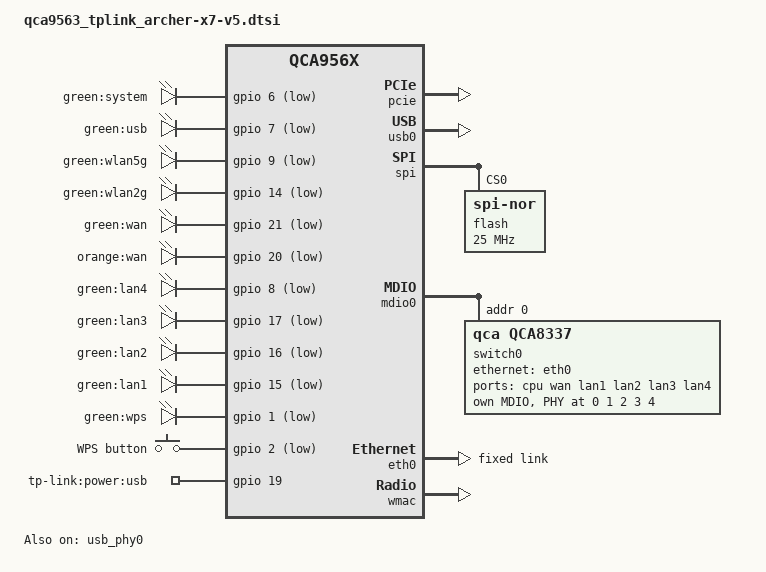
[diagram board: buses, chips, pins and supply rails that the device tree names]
// SPDX-License-Identifier: GPL-2.0-or-later OR MIT

#include "qca956x.dtsi"

#include <dt-bindings/gpio/gpio.h>
#include <dt-bindings/input/input.h>

/ {
	aliases {
		led-boot = &led_system;
		led-failsafe = &led_system;
		led-running = &led_system;
		led-upgrade = &led_system;
	};

	leds {
		compatible = "gpio-leds";

		led_system: system {
			label = "green:system";
			gpios = <&gpio 6 GPIO_ACTIVE_LOW>;
			default-state = "on";
		};

		usb {
			label = "green:usb";
			gpios = <&gpio 7 GPIO_ACTIVE_LOW>;
			trigger-sources = <&hub_port0>;
			linux,default-trigger = "usbport";
		};

		wlan5g {
			label = "green:wlan5g";
			gpios = <&gpio 9 GPIO_ACTIVE_LOW>;
			linux,default-trigger = "phy0tpt";
		};

		wlan2g {
			label = "green:wlan2g";
			gpios = <&gpio 14 GPIO_ACTIVE_LOW>;
			linux,default-trigger = "phy1tpt";
		};

		wan {
			label = "green:wan";
			gpios = <&gpio 21 GPIO_ACTIVE_LOW>;
		};

		wan_fail {
			label = "orange:wan";
			gpios = <&gpio 20 GPIO_ACTIVE_LOW>;
		};

		lan4 {
			label = "green:lan4";
			gpios = <&gpio 8 GPIO_ACTIVE_LOW>;
		};

		lan3 {
			label = "green:lan3";
			gpios = <&gpio 17 GPIO_ACTIVE_LOW>;
		};

		lan2 {
			label = "green:lan2";
			gpios = <&gpio 16 GPIO_ACTIVE_LOW>;
		};

		lan1 {
			label = "green:lan1";
			gpios = <&gpio 15 GPIO_ACTIVE_LOW>;
		};

		wps {
			label = "green:wps";
			gpios = <&gpio 1 GPIO_ACTIVE_LOW>;
		};
	};

	keys: keys {
		compatible = "gpio-keys";

		wps {
			label = "WPS button";
			linux,code = <KEY_WPS_BUTTON>;
			gpios = <&gpio 2 GPIO_ACTIVE_LOW>;
			debounce-interval = <60>;
		};
	};

	gpio-export {
		compatible = "gpio-export";

		gpio_usb_power {
			gpio-export,name = "tp-link:power:usb";
			gpio-export,output = <1>;
			gpios = <&gpio 19 GPIO_ACTIVE_HIGH>;
		};
	};
};

&pcie {
	status = "okay";
};

&usb_phy0 {
	status = "okay";
};

&usb0 {
	#address-cells = <1>;
	#size-cells = <0>;
	status = "okay";

	hub_port0: port@1 {
		reg = <1>;
		#trigger-source-cells = <0>;
	};
};

&spi {
	status = "okay";

	flash@0 {
		compatible = "jedec,spi-nor";
		reg = <0>;
		spi-max-frequency = <25000000>;

		mtdparts: partitions {
			compatible = "fixed-partitions";
			#address-cells = <1>;
			#size-cells = <1>;
		};
	};
};

&mdio0 {
	status = "okay";

	phy-mask = <0>;

	switch0@10 {
		compatible = "qca,qca8337";
		#address-cells = <1>;
		#size-cells = <0>;

		reg = <0>;

		ports {
			#address-cells = <1>;
			#size-cells = <0>;

			port@0 {
				reg = <0>;
				label = "cpu";
				ethernet = <&eth0>;
				phy-mode = "sgmii";
				qca,sgmii-rxclk-falling-edge;

				fixed-link {
					speed = <1000>;
					full-duplex;
				};
			};

			port@1 {
				reg = <1>;
				label = "wan";
				phy-mode = "internal";
				phy-handle = <&phy_port1>;
			};

			port@2 {
				reg = <2>;
				label = "lan1";
				phy-mode = "internal";
				phy-handle = <&phy_port2>;
			};

			port@3 {
				reg = <3>;
				label = "lan2";
				phy-mode = "internal";
				phy-handle = <&phy_port3>;
			};

			port@4 {
				reg = <4>;
				label = "lan3";
				phy-mode = "internal";
				phy-handle = <&phy_port4>;
			};

			port@5 {
				reg = <5>;
				label = "lan4";
				phy-mode = "internal";
				phy-handle = <&phy_port5>;
			};
		};

		mdio {
			#address-cells = <1>;
			#size-cells = <0>;

			phy_port1: phy@0 {
				reg = <0>;
			};

			phy_port2: phy@1 {
				reg = <1>;
			};

			phy_port3: phy@2 {
				reg = <2>;
			};

			phy_port4: phy@3 {
				reg = <3>;
			};

			phy_port5: phy@4 {
				reg = <4>;
			};
		};
	};
};

&eth0 {
	status = "okay";

	pll-data = <0x03000101 0x00000101 0x00001919>;

	fixed-link {
		speed = <1000>;
		full-duplex;
	};
};

&wmac {
	status = "okay";
};
